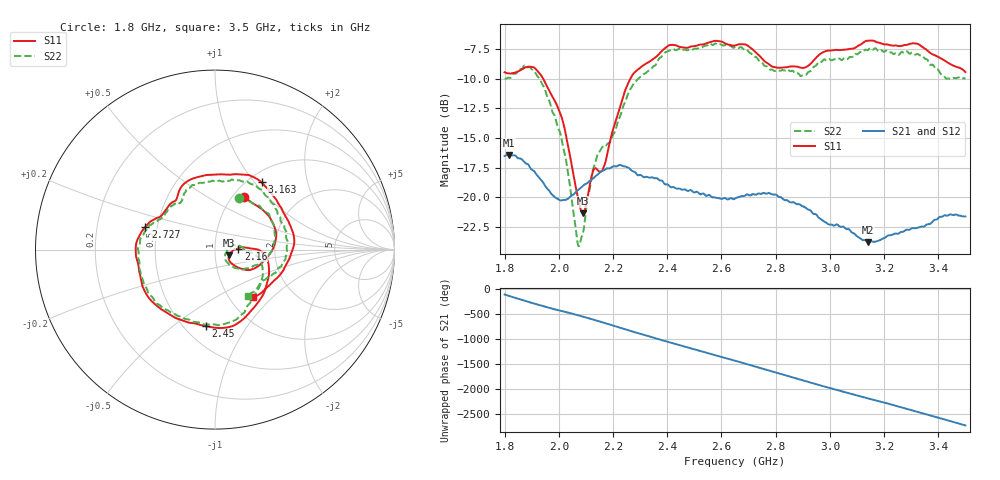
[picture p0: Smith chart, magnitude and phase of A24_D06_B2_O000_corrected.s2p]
! Created with skrf 1.9.0 (http://scikit-rf.org).
# Hz S RI R 50.0
!freq ReS11 ImS11 ReS21 ImS21 ReS12 ImS12 ReS22 ImS22
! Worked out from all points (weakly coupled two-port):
!   1601 points, 1.8 GHz to 3.5 GHz, reference 50 ohm
!   highest |S21| = -16.44 dB at 1.815 GHz (marker M1); lowest = -23.8 dB at 3.142 GHz (marker M2)
!   lowest |S11| = -21.3 dB at 2.089 GHz (marker M3), VSWR 1.19, Z = 58.5 - j3.85 ohm
!   |S11| at or under -10 dB: 1.942 GHz to 2.264 GHz (321.8 MHz wide, 15.3 % of centre)
!   |S22| runs from -24.1 to -7.0 dB; largest |S21 - S12| = 0.0026
!   S11 on the Smith chart (normalised r, x): 1.8 GHz: 1.13, +0.75; 2.16 GHz: 1.30, +0.02; 2.45 GHz: 0.63, -0.66; 2.727 GHz: 0.43, +0.13; 3.163 GHz: 1.15, +1.09; 3.5 GHz: 1.28, -0.76
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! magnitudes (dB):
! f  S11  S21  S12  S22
! 1.8 GHz  -9.5  -16.5  -16.5  -10.0
! 1.815 GHz  -9.6  -16.4  -16.4  -9.9
! 1.88 GHz  -9.0  -17.2  -17.2  -9.0
! 1.942 GHz  -10.0  -18.8  -18.8  -10.6
! 2.013 GHz  -13.4  -20.3  -20.2  -15.4
! 2.068 GHz  -19.7  -19.4  -19.4  -23.6
! 2.084 GHz  -21.2  -19.2  -19.1  -23.4
! 2.089 GHz  -21.3  -19.0  -19.1  -23.0
! 2.127 GHz  -17.7  -18.4  -18.4  -17.6
! 2.16 GHz  -17.7  -17.8  -17.7  -15.8
! 2.26 GHz  -10.2  -17.6  -17.6  -11.0
! 2.367 GHz  -8.0  -18.5  -18.4  -8.4
! 2.45 GHz  -7.3  -19.3  -19.3  -7.6
! 2.65 GHz  -7.2  -20.1  -20.1  -7.3
! 2.727 GHz  -7.8  -19.8  -19.8  -8.2
! 2.8 GHz  -9.1  -19.8  -19.8  -9.3
! 2.934 GHz  -8.6  -21.3  -21.2  -9.2
! 3.142 GHz  -6.8  -23.8  -23.7  -7.6
! 3.163 GHz  -6.8  -23.8  -23.7  -7.5
! 3.217 GHz  -7.2  -23.2  -23.2  -7.8
! 3.323 GHz  -7.1  -22.6  -22.5  -7.9
! 3.5 GHz  -9.4  -21.6  -21.6  -10.0
